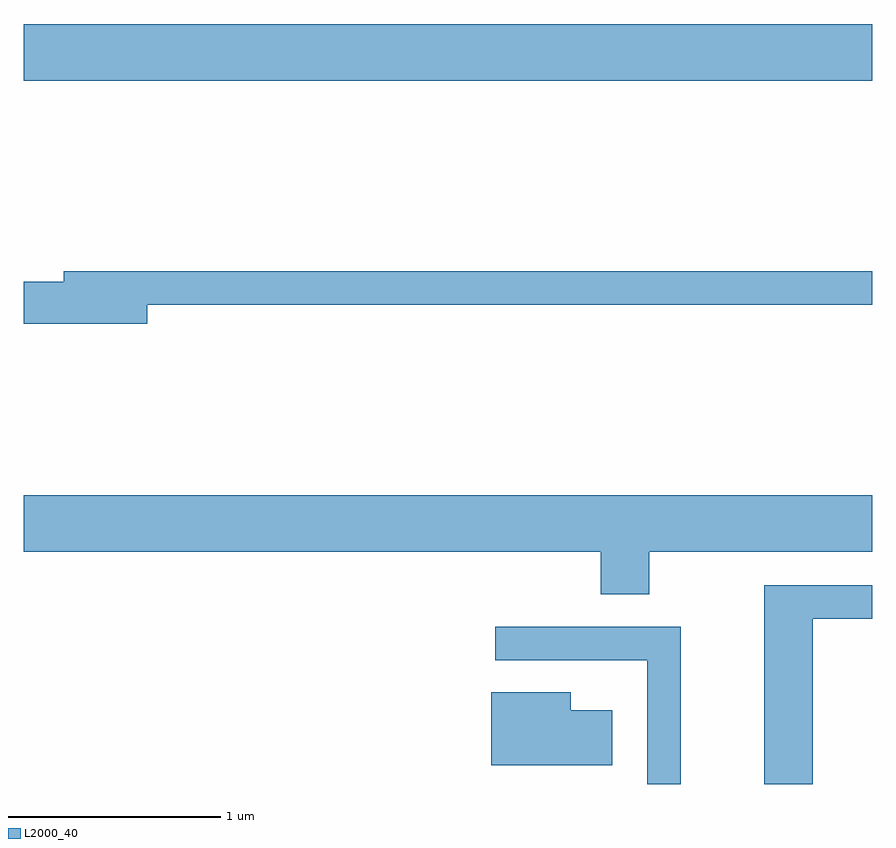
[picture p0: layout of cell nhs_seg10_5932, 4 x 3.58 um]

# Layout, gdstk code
import gdstk
lib = gdstk.Library(unit=1e-6, precision=1e-09)
def R(c, l, rs):  # rectangles x0, y0, x1, y1
    for r in rs: c.add(gdstk.rectangle(r[:2], r[2:], *l))
def P(c, l, *ps):  # polygons
    for p in ps: c.add(gdstk.Polygon(p, *l))
L2000_40 = (2000, 40)

nhs_seg10_5932 = lib.new_cell('nhs_seg10_5932')
R(nhs_seg10_5932, L2000_40, [(359.611,2193.836,363.611,2194.104)])
P(nhs_seg10_5932, L2000_40, [(360.194,2192.781),(363.611,2192.781),(363.611,2192.939),(359.801,2192.939),(359.801,2192.889),(359.611,2192.889),(359.611,2192.691),(360.194,2192.691)],
  [(362.559,2191.616),(363.611,2191.616),(363.611,2191.884),(359.611,2191.884),(359.611,2191.616),(362.331,2191.616),(362.331,2191.416),(362.559,2191.416)],
  [(363.329,2191.301),(363.611,2191.301),(363.611,2191.459),(363.101,2191.459),(363.101,2190.522),(363.329,2190.522)],
  [(362.709,2191.264),(361.833,2191.264),(361.833,2191.106),(362.551,2191.106),(362.551,2190.522),(362.709,2190.522)],
  [(362.384,2190.869),(362.189,2190.869),(362.189,2190.954),(361.816,2190.954),(361.816,2190.611),(362.384,2190.611)])

lib.write_gds('nhs_seg10_5932.gds')
